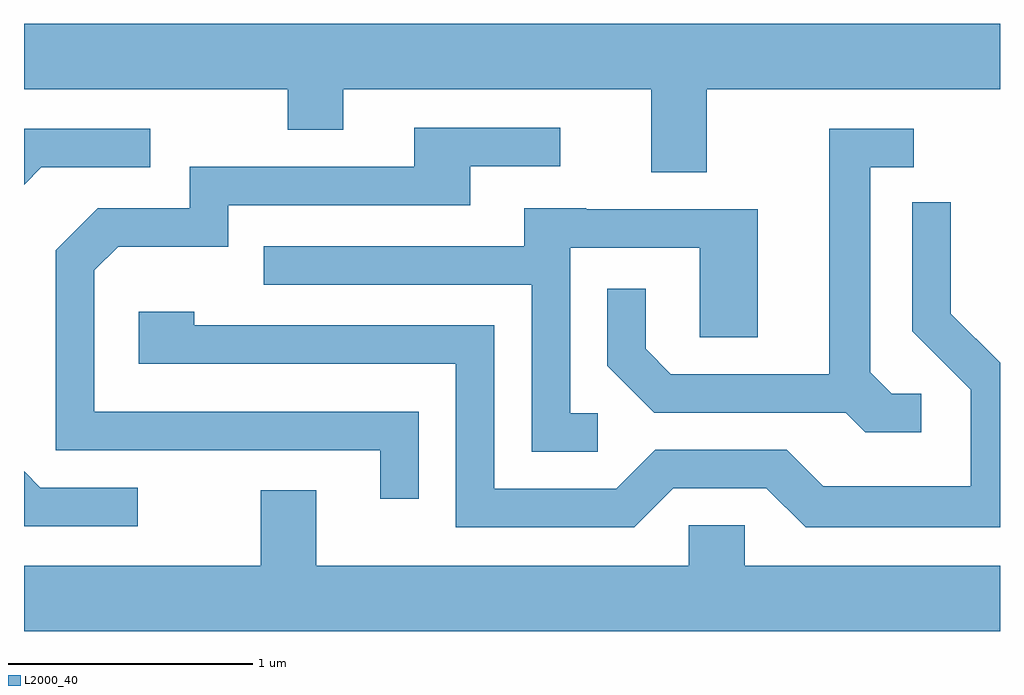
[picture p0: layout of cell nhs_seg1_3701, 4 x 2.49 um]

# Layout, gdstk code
import gdstk
lib = gdstk.Library(unit=1e-6, precision=1e-09)
def P(c, l, *ps):  # polygons
    for p in ps: c.add(gdstk.Polygon(p, *l))
L2000_40 = (2000, 40)

nhs_seg1_3701 = lib.new_cell('nhs_seg1_3701')
P(nhs_seg1_3701, L2000_40, [(298.409,975.056),(299.611,975.056),(299.611,975.324),(295.611,975.324),(295.611,975.056),(296.691,975.056),(296.691,974.891),(296.919,974.891),(296.919,975.056),(298.181,975.056),(298.181,974.716),(298.409,974.716)],
  [(297.229,973.734),(295.899,973.734),(295.899,974.314),(295.997,974.411),(296.449,974.411),(296.449,974.581),(297.439,974.581),(297.439,974.741),(297.808,974.741),(297.808,974.899),(297.211,974.899),(297.211,974.739),(296.291,974.739),(296.291,974.569),(295.914,974.569),(295.741,974.397),(295.741,973.576),(297.071,973.576),(297.071,973.378),(297.229,973.378)],
  [(295.682,974.736),(296.128,974.736),(296.128,974.894),(295.611,974.894),(295.611,974.666)],
  [(299.288,973.809),(299.167,973.809),(299.079,973.897),(299.079,974.736),(299.258,974.736),(299.258,974.894),(298.911,974.894),(298.911,973.889),(298.262,973.889),(298.159,973.992),(298.159,974.238),(298.001,974.238),(298.001,973.924),(298.194,973.731),(298.979,973.731),(299.059,973.651),(299.288,973.651)],
  [(298.272,973.421),(298.654,973.421),(298.814,973.261),(299.611,973.261),(299.611,973.935),(299.409,974.137),(299.409,974.593),(299.251,974.593),(299.251,974.064),(299.491,973.824),(299.491,973.429),(298.887,973.429),(298.737,973.579),(298.199,973.579),(298.039,973.419),(297.539,973.419),(297.539,974.089),(296.309,974.089),(296.309,974.144),(296.081,974.144),(296.081,973.931),(297.381,973.931),(297.381,973.261),(298.112,973.261)],
  [(297.963,973.729),(297.849,973.729),(297.849,974.406),(298.381,974.406),(298.381,974.041),(298.619,974.041),(298.619,974.564),(297.915,974.564),(297.915,974.569),(297.661,974.569),(297.661,974.414),(296.593,974.414),(296.593,974.256),(297.691,974.256),(297.691,973.571),(297.963,973.571)],
  [(296.078,973.424),(295.677,973.424),(295.611,973.49),(295.611,973.266),(296.078,973.266)],
  [(299.611,973.104),(298.564,973.104),(298.564,973.269),(298.336,973.269),(298.336,973.104),(296.809,973.104),(296.809,973.414),(296.581,973.414),(296.581,973.104),(295.611,973.104),(295.611,972.836),(299.611,972.836)])

lib.write_gds('nhs_seg1_3701.gds')
